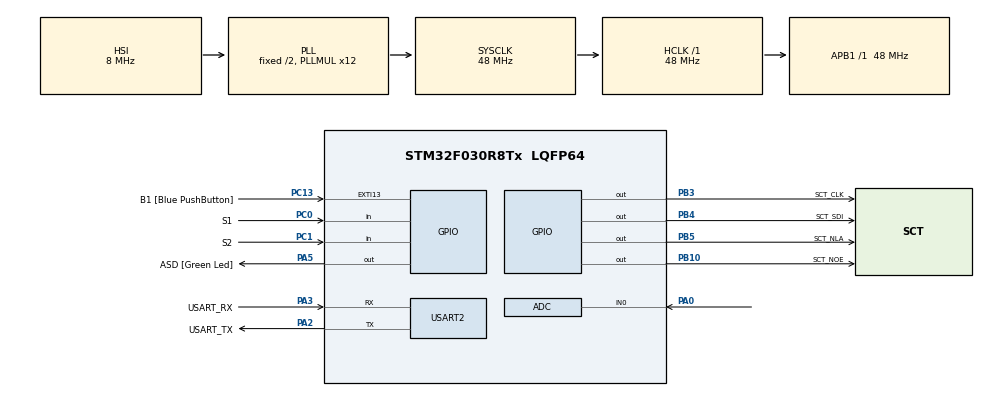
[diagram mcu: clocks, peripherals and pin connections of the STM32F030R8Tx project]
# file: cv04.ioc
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ADC.ContinuousConvMode=ENABLE
ADC.EOCSelection=ADC_EOC_SINGLE_CONV
ADC.SamplingTime=ADC_SAMPLETIME_239CYCLES_5
Mcu.Family=STM32F0
Mcu.Name=STM32F030R8Tx
Mcu.Package=LQFP64
NVIC.ADC1_IRQn=true\:0\:0\:false\:false\:true\:true\:true
PA0.Mode=IN0
PA0.Signal=ADC_IN0
PA13.GPIO_Label=TMS
PA13.Mode=Serial_Wire
PA13.Signal=SYS_SWDIO
PA14.GPIO_Label=TCK
PA14.Mode=Serial_Wire
PA14.Signal=SYS_SWCLK
PA2.GPIO_Label=USART_TX
PA2.GPIO_Mode=GPIO_MODE_AF_PP
PA2.GPIO_PuPd=GPIO_NOPULL
PA2.GPIO_Speed=GPIO_SPEED_FREQ_LOW
PA2.Mode=Asynchronous
PA2.Signal=USART2_TX
PA3.GPIO_Label=USART_RX
PA3.GPIO_Mode=GPIO_MODE_AF_PP
PA3.GPIO_PuPd=GPIO_NOPULL
PA3.GPIO_Speed=GPIO_SPEED_FREQ_LOW
PA3.Mode=Asynchronous
PA3.Signal=USART2_RX
PA5.GPIO_Label=ASD [Green Led]
PA5.GPIO_Mode=GPIO_MODE_OUTPUT_PP
PA5.GPIO_PuPd=GPIO_NOPULL
PA5.GPIO_Speed=GPIO_SPEED_FREQ_LOW
PA5.Signal=GPIO_Output
PB10.GPIO_Label=SCT_NOE
PB10.Signal=GPIO_Output
PB3.GPIO_Label=SCT_CLK
PB3.Signal=GPIO_Output
PB4.GPIO_Label=SCT_SDI
PB4.Signal=GPIO_Output
PB5.GPIO_Label=SCT_NLA
PB5.Signal=GPIO_Output
PC0.GPIO_Label=S1
PC0.GPIO_PuPd=GPIO_PULLUP
PC0.Signal=GPIO_Input
PC1.GPIO_Label=S2
PC1.GPIO_PuPd=GPIO_PULLUP
PC1.Signal=GPIO_Input
PC13.GPIO_Label=B1 [Blue PushButton]
PC13.GPIO_ModeDefaultEXTI=GPIO_MODE_IT_FALLING
PC13.Signal=GPXTI13
PC14-OSC32_IN.Mode=LSE-External-Oscillator
PC14-OSC32_IN.Signal=RCC_OSC32_IN
PC15-OSC32_OUT.Mode=LSE-External-Oscillator
PC15-OSC32_OUT.Signal=RCC_OSC32_OUT
PF0-OSC_IN.Mode=HSE-External-Clock-Source
PF0-OSC_IN.Signal=RCC_OSC_IN
PF1-OSC_OUT.Signal=RCC_OSC_OUT
ProjectManager.HeapSize=0x200
ProjectManager.StackSize=0x400
ProjectManager.TargetToolchain=STM32CubeIDE
RCC.AHBFreq_Value=48000000
RCC.APB1Freq_Value=48000000
RCC.APB1TimFreq_Value=48000000
RCC.HCLKFreq_Value=48000000
RCC.PLLMUL=RCC_PLL_MUL12
RCC.SYSCLKFreq_VALUE=48000000
RCC.SYSCLKSource=RCC_SYSCLKSOURCE_PLLCLK
USART2.VirtualMode-Asynchronous=VM_ASYNC
VP_ADC_TempSens_Input.Mode=IN-TempSens
VP_ADC_Vref_Input.Mode=IN-Vrefint
board=NUCLEO-F030R8

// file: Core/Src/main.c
/* USER CODE BEGIN Header */
/**
  ******************************************************************************
  * @file           : main.c
  * @brief          : Main program body
  ******************************************************************************
  * @attention
  *
  * <h2><center>&copy; Copyright (c) 2021 STMicroelectronics.
  * All rights reserved.</center></h2>
  *
  * This software component is licensed by ST under BSD 3-Clause license,
  * the "License"; You may not use this file except in compliance with the
  * License. You may obtain a copy of the License at:
  *                        opensource.org/licenses/BSD-3-Clause
  *
  ******************************************************************************
  */
/* USER CODE END Header */
#include "main.h"

/* USER CODE BEGIN Includes */
#include "sct.h"
/* USER CODE END Includes */

/* USER CODE BEGIN PD */
#define ADC_Q 12
/* Temperature sensor calibration value address */
#define TEMP110_CAL_ADDR ((uint16_t*) ((uint32_t) 0x1FFFF7C2))
#define TEMP30_CAL_ADDR ((uint16_t*) ((uint32_t) 0x1FFFF7B8))
/* Internal voltage reference calibration value address */
#define VREFINT_CAL_ADDR ((uint16_t*) ((uint32_t) 0x1FFFF7BA))
/* USER CODE END PD */

ADC_HandleTypeDef hadc;

UART_HandleTypeDef huart2;

void SystemClock_Config(void);
static void MX_GPIO_Init(void);
static void MX_USART2_UART_Init(void);
static void MX_ADC_Init(void);

/* USER CODE BEGIN 0 */
static volatile uint32_t raw_pot;
static volatile uint32_t raw_temp;
static volatile uint32_t raw_volt;
void HAL_ADC_ConvCpltCallback(ADC_HandleTypeDef* hadc) {
	static uint8_t channel;
	static uint32_t avg_pot;
	switch (channel) {
	case 0:
		raw_pot =  avg_pot >> ADC_Q;
		avg_pot -= raw_pot;
		avg_pot += HAL_ADC_GetValue(hadc);
		break;
	case 1:
		raw_temp = HAL_ADC_GetValue(hadc);
		break;
	case 2:
		raw_volt = HAL_ADC_GetValue(hadc);
		break;
	}
	if (__HAL_ADC_GET_FLAG(hadc, ADC_FLAG_EOS)) channel = 0;
	else channel++;

}

/* USER CODE END 0 */

int main(void)
{
  /* USER CODE BEGIN 1 */
	static enum { SHOW_POT, SHOW_VOLT, SHOW_TEMP } state = SHOW_POT;
  /* USER CODE END 1 */

  /* MCU Configuration--------------------------------------------------------*/

  /* Reset of all peripherals, Initializes the Flash interface and the Systick. */
  HAL_Init();

  /* Configure the system clock */
  SystemClock_Config();

  /* Initialize all configured peripherals */
  MX_GPIO_Init();
  MX_USART2_UART_Init();
  MX_ADC_Init();
  /* USER CODE BEGIN 2 */
  sct_init();
  HAL_ADCEx_Calibration_Start(&hadc);
  HAL_ADC_Start_IT(&hadc);
  /* USER CODE END 2 */

  /* Infinite loop */
  /* USER CODE BEGIN WHILE */
  while (1)
  {
	  uint16_t value = (raw_pot * (500+1)) / 4096;
	  uint8_t led = (raw_pot * 8) / 4096;
	  uint32_t voltage = 330 * (*VREFINT_CAL_ADDR) / raw_volt;
	  int32_t temperature = (raw_temp - (int32_t)(*TEMP30_CAL_ADDR));
	  temperature = temperature * (int32_t)(110 - 30);
	  temperature = temperature / (int32_t)(*TEMP110_CAL_ADDR - *TEMP30_CAL_ADDR);
	  temperature = temperature + 30;
	  static uint32_t readTime;
	  uint32_t tick = HAL_GetTick();

	  switch(state){
		  case SHOW_POT:
			  sct_value(value, led);
			  break;
		  case SHOW_VOLT:
			  sct_value(voltage, 0);
			  break;
		  case SHOW_TEMP:
			  sct_value(temperature, 0);
			  break;
	  }

	  if (! HAL_GPIO_ReadPin(S1_GPIO_Port, S1_Pin)) {
		  state = SHOW_VOLT;
		  readTime = HAL_GetTick() + 2000;
	  }
	  else if (! HAL_GPIO_ReadPin(S2_GPIO_Port, S2_Pin)){
		  state = SHOW_TEMP;
		  readTime = HAL_GetTick() + 2000;
	  }
	  if (state != SHOW_POT) {
		  if (HAL_GetTick() >= readTime) {
			  state = SHOW_POT;
		  }
	  }
    /* USER CODE END WHILE */

  }
}

void SystemClock_Config(void)
{
  RCC_OscInitTypeDef RCC_OscInitStruct = {0};
  RCC_ClkInitTypeDef RCC_ClkInitStruct = {0};

  /** Initializes the RCC Oscillators according to the specified parameters
  * in the RCC_OscInitTypeDef structure.
  */
  RCC_OscInitStruct.OscillatorType = RCC_OSCILLATORTYPE_HSI|RCC_OSCILLATORTYPE_HSI14;
  RCC_OscInitStruct.HSIState = RCC_HSI_ON;
  RCC_OscInitStruct.HSI14State = RCC_HSI14_ON;
  RCC_OscInitStruct.HSICalibrationValue = RCC_HSICALIBRATION_DEFAULT;
  RCC_OscInitStruct.HSI14CalibrationValue = 16;
  RCC_OscInitStruct.PLL.PLLState = RCC_PLL_ON;
  RCC_OscInitStruct.PLL.PLLSource = RCC_PLLSOURCE_HSI;
  RCC_OscInitStruct.PLL.PLLMUL = RCC_PLL_MUL12;
  RCC_OscInitStruct.PLL.PREDIV = RCC_PREDIV_DIV1;
  if (HAL_RCC_OscConfig(&RCC_OscInitStruct) != HAL_OK)
  {
    Error_Handler();
  }
  /** Initializes the CPU, AHB and APB buses clocks
  */
  RCC_ClkInitStruct.ClockType = RCC_CLOCKTYPE_HCLK|RCC_CLOCKTYPE_SYSCLK
                              |RCC_CLOCKTYPE_PCLK1;
  RCC_ClkInitStruct.SYSCLKSource = RCC_SYSCLKSOURCE_PLLCLK;
  RCC_ClkInitStruct.AHBCLKDivider = RCC_SYSCLK_DIV1;
  RCC_ClkInitStruct.APB1CLKDivider = RCC_HCLK_DIV1;

  if (HAL_RCC_ClockConfig(&RCC_ClkInitStruct, FLASH_LATENCY_1) != HAL_OK)
  {
    Error_Handler();
  }
}

static void MX_ADC_Init(void)
{

  ADC_ChannelConfTypeDef sConfig = {0};

  /** Configure the global features of the ADC (Clock, Resolution, Data Alignment and number of conversion)
  */
  hadc.Instance = ADC1;
  hadc.Init.ClockPrescaler = ADC_CLOCK_ASYNC_DIV1;
  hadc.Init.Resolution = ADC_RESOLUTION_12B;
  hadc.Init.DataAlign = ADC_DATAALIGN_RIGHT;
  hadc.Init.ScanConvMode = ADC_SCAN_DIRECTION_FORWARD;
  hadc.Init.EOCSelection = ADC_EOC_SINGLE_CONV;
  hadc.Init.LowPowerAutoWait = DISABLE;
  hadc.Init.LowPowerAutoPowerOff = DISABLE;
  hadc.Init.ContinuousConvMode = ENABLE;
  hadc.Init.DiscontinuousConvMode = DISABLE;
  hadc.Init.ExternalTrigConv = ADC_SOFTWARE_START;
  hadc.Init.ExternalTrigConvEdge = ADC_EXTERNALTRIGCONVEDGE_NONE;
  hadc.Init.DMAContinuousRequests = DISABLE;
  hadc.Init.Overrun = ADC_OVR_DATA_PRESERVED;
  if (HAL_ADC_Init(&hadc) != HAL_OK)
  {
    Error_Handler();
  }
  /** Configure for the selected ADC regular channel to be converted.
  */
  sConfig.Channel = ADC_CHANNEL_0;
  sConfig.Rank = ADC_RANK_CHANNEL_NUMBER;
  sConfig.SamplingTime = ADC_SAMPLETIME_239CYCLES_5;
  if (HAL_ADC_ConfigChannel(&hadc, &sConfig) != HAL_OK)
  {
    Error_Handler();
  }
  /** Configure for the selected ADC regular channel to be converted.
  */
  sConfig.Channel = ADC_CHANNEL_TEMPSENSOR;
  if (HAL_ADC_ConfigChannel(&hadc, &sConfig) != HAL_OK)
  {
    Error_Handler();
  }
  /** Configure for the selected ADC regular channel to be converted.
  */
  sConfig.Channel = ADC_CHANNEL_VREFINT;
  if (HAL_ADC_ConfigChannel(&hadc, &sConfig) != HAL_OK)
  {
    Error_Handler();
  }

}

static void MX_USART2_UART_Init(void)
{

  huart2.Instance = USART2;
  huart2.Init.BaudRate = 38400;
  huart2.Init.WordLength = UART_WORDLENGTH_8B;
  huart2.Init.StopBits = UART_STOPBITS_1;
  huart2.Init.Parity = UART_PARITY_NONE;
  huart2.Init.Mode = UART_MODE_TX_RX;
  huart2.Init.HwFlowCtl = UART_HWCONTROL_NONE;
  huart2.Init.OverSampling = UART_OVERSAMPLING_16;
  huart2.Init.OneBitSampling = UART_ONE_BIT_SAMPLE_DISABLE;
  huart2.AdvancedInit.AdvFeatureInit = UART_ADVFEATURE_NO_INIT;
  if (HAL_UART_Init(&huart2) != HAL_OK)
  {
    Error_Handler();
  }

}

static void MX_GPIO_Init(void)
{
  GPIO_InitTypeDef GPIO_InitStruct = {0};

  /* GPIO Ports Clock Enable */
  __HAL_RCC_GPIOC_CLK_ENABLE();
  __HAL_RCC_GPIOF_CLK_ENABLE();
  __HAL_RCC_GPIOA_CLK_ENABLE();
  __HAL_RCC_GPIOB_CLK_ENABLE();

  /*Configure GPIO pin Output Level */
  HAL_GPIO_WritePin(ASD_GPIO_Port, ASD_Pin, GPIO_PIN_RESET);

  /*Configure GPIO pin Output Level */
  HAL_GPIO_WritePin(GPIOB, SCT_NOE_Pin|SCT_CLK_Pin|SCT_SDI_Pin|SCT_NLA_Pin, GPIO_PIN_RESET);

  /*Configure GPIO pin : B1_Pin */
  GPIO_InitStruct.Pin = B1_Pin;
  GPIO_InitStruct.Mode = GPIO_MODE_IT_FALLING;
  GPIO_InitStruct.Pull = GPIO_NOPULL;
  HAL_GPIO_Init(B1_GPIO_Port, &GPIO_InitStruct);

  /*Configure GPIO pins : S1_Pin S2_Pin */
  GPIO_InitStruct.Pin = S1_Pin|S2_Pin;
  GPIO_InitStruct.Mode = GPIO_MODE_INPUT;
  GPIO_InitStruct.Pull = GPIO_PULLUP;
  HAL_GPIO_Init(GPIOC, &GPIO_InitStruct);

  /*Configure GPIO pin : ASD_Pin */
  GPIO_InitStruct.Pin = ASD_Pin;
  GPIO_InitStruct.Mode = GPIO_MODE_OUTPUT_PP;
  GPIO_InitStruct.Pull = GPIO_NOPULL;
  GPIO_InitStruct.Speed = GPIO_SPEED_FREQ_LOW;
  HAL_GPIO_Init(ASD_GPIO_Port, &GPIO_InitStruct);

  /*Configure GPIO pins : SCT_NOE_Pin SCT_CLK_Pin SCT_SDI_Pin SCT_NLA_Pin */
  GPIO_InitStruct.Pin = SCT_NOE_Pin|SCT_CLK_Pin|SCT_SDI_Pin|SCT_NLA_Pin;
  GPIO_InitStruct.Mode = GPIO_MODE_OUTPUT_PP;
  GPIO_InitStruct.Pull = GPIO_NOPULL;
  GPIO_InitStruct.Speed = GPIO_SPEED_FREQ_LOW;
  HAL_GPIO_Init(GPIOB, &GPIO_InitStruct);

}

void Error_Handler(void)
{
  __disable_irq();
  while (1)
  {
  }
}

/************************ (C) COPYRIGHT STMicroelectronics *****END OF FILE****/
